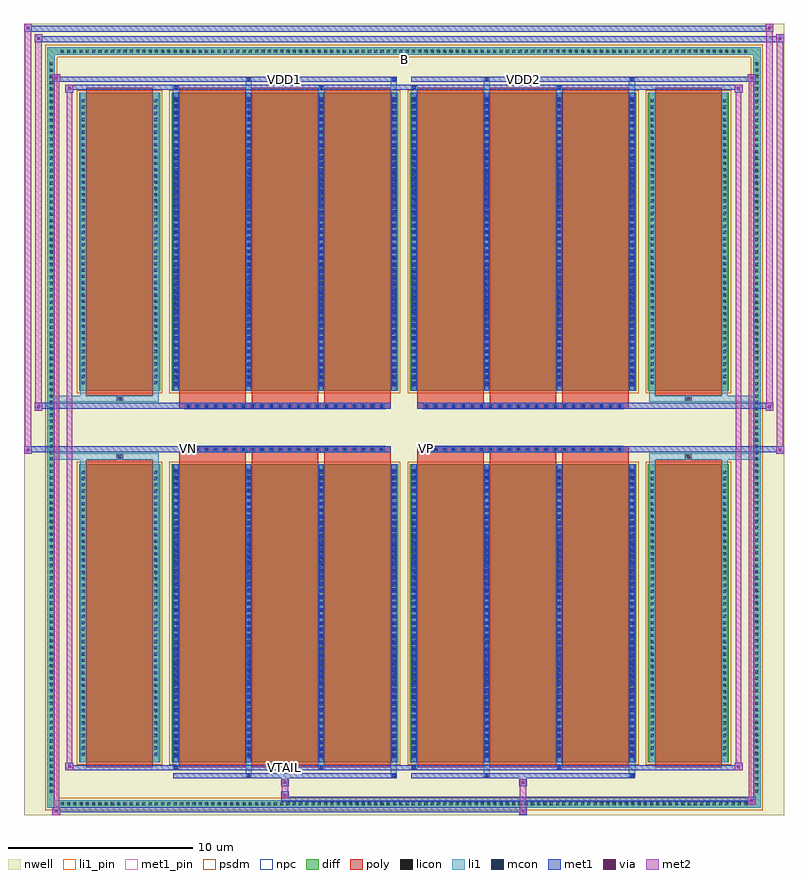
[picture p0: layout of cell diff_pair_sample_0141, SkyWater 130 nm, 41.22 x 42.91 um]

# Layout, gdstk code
import gdstk
lib = gdstk.Library(unit=1e-6, precision=5e-09)
def R(c, l, rs):  # rectangles x0, y0, x1, y1
    for r in rs: c.add(gdstk.rectangle(r[:2], r[2:], *l))
def A(c, l, x, y, w, h, nx, ny, dx, dy):  # array of equal rectangles
    R(c, l, [(x+i*dx, y+j*dy, x+i*dx+w, y+j*dy+h) for i in range(nx) for j in range(ny)])
def P(c, l, *ps):  # polygons
    for p in ps: c.add(gdstk.Polygon(p, *l))
nwell = (64, 20)
diff = (65, 20)
poly = (66, 20)
licon = (66, 44)
li1_pin = (67, 16)
li1 = (67, 20)
mcon = (67, 44)
met1_pin = (68, 16)
met1 = (68, 20)
via = (68, 44)
met2 = (69, 20)
psdm = (94, 20)
npc = (95, 20)

diff_pair_sample_0141 = lib.new_cell('diff_pair_sample_0141')
R(diff_pair_sample_0141, nwell, [(-20.61,-21.02,20.61,21.89), (-17.93,-19.21,-0.01,-0.805), (0.01,-19.21,17.93,-0.805), (-17.93,0.805,-0.01,19.21), (0.01,0.805,17.93,19.21)])
A(diff_pair_sample_0141, diff, -18.735, -20.62, 0.41, 0.41, 110, 2, 0.34, 40.83)
A(diff_pair_sample_0141, diff, -19.34, -19.925, 0.41, 0.41, 1, 117, 0, 0.34)
A(diff_pair_sample_0141, diff, 18.93, -19.925, 0.41, 0.41, 1, 117, 0, 0.34)
R(diff_pair_sample_0141, diff, [(-18.735,-20.62,18.735,-20.21), (-19.34,-19.925,-18.93,19.925), (18.93,-19.925,19.34,19.925), (-17.62,-18.165,-13.23,-1.985), (-12.59,-18.165,-0.32,-1.985), (0.32,-18.165,12.59,-1.985), (13.23,-18.165,17.62,-1.985), (-17.62,1.985,-13.23,18.165), (-12.59,1.985,-0.32,18.165), (0.32,1.985,12.59,18.165), (13.23,1.985,17.62,18.165), (-18.735,20.21,18.735,20.62)])
P(diff_pair_sample_0141, diff, [(19.34,20.62),(-19.34,20.62),(-19.34,-20.21),(-18.93,-20.21),(-18.93,20.21),(18.93,20.21),(18.93,-20.21),(-18.93,-20.21),(-19.34,-20.21),(-19.34,-20.62),(19.34,-20.62)])
A(diff_pair_sample_0141, poly, -12.2, -18.415, 3.61, 16.68, 3, 2, 3.94, 20.15)
A(diff_pair_sample_0141, poly, 0.71, -18.415, 3.61, 16.68, 3, 2, 3.94, 20.15)
A(diff_pair_sample_0141, poly, -12.2, -1.735, 3.61, 0.4, 3, 2, 3.94, 3.07)
A(diff_pair_sample_0141, poly, 0.71, -1.735, 3.61, 0.4, 3, 2, 3.94, 3.07)
A(diff_pair_sample_0141, poly, -11.87, -1.335, 0.33, 0.33, 22, 2, 0.5, 2.34)
A(diff_pair_sample_0141, poly, 1.04, -1.335, 0.33, 0.33, 22, 2, 0.5, 2.34)
R(diff_pair_sample_0141, poly, [(-17.23,-18.415,-13.62,-1.735), (13.62,-18.415,17.23,-1.735), (-15.59,-1.735,-15.26,-1.405), (-15.59,-1.735,-15.26,-1.405), (15.26,-1.735,15.59,-1.405), (15.26,-1.735,15.59,-1.405), (-12.2,-1.335,-0.71,-1.005), (0.71,-1.335,12.2,-1.005), (-12.2,1.005,-0.71,1.335), (0.71,1.005,12.2,1.335), (-15.59,1.405,-15.26,1.735), (-15.59,1.405,-15.26,1.735), (15.26,1.405,15.59,1.735), (15.26,1.405,15.59,1.735), (-17.23,1.735,-13.62,18.415), (13.62,1.735,17.23,18.415)])
A(diff_pair_sample_0141, licon, -18.615, -20.5, 0.17, 0.17, 110, 2, 0.34, 40.83)
A(diff_pair_sample_0141, licon, -19.22, -19.805, 0.17, 0.17, 1, 117, 0, 0.34)
A(diff_pair_sample_0141, licon, 19.05, -19.805, 0.17, 0.17, 1, 117, 0, 0.34)
A(diff_pair_sample_0141, licon, -17.48, -17.81, 0.17, 0.17, 1, 46, 0, 0.34)
A(diff_pair_sample_0141, licon, -13.54, -17.81, 0.17, 0.17, 1, 46, 0, 0.34)
A(diff_pair_sample_0141, licon, -12.45, -17.81, 0.17, 0.17, 4, 46, 3.94, 0.34)
A(diff_pair_sample_0141, licon, 0.46, -17.81, 0.17, 0.17, 4, 46, 3.94, 0.34)
A(diff_pair_sample_0141, licon, 13.37, -17.81, 0.17, 0.17, 1, 46, 0, 0.34)
A(diff_pair_sample_0141, licon, 17.31, -17.81, 0.17, 0.17, 1, 46, 0, 0.34)
A(diff_pair_sample_0141, licon, -11.79, -1.255, 0.17, 0.17, 22, 2, 0.5, 2.34)
A(diff_pair_sample_0141, licon, 1.12, -1.255, 0.17, 0.17, 22, 2, 0.5, 2.34)
A(diff_pair_sample_0141, licon, -17.48, 2.34, 0.17, 0.17, 1, 46, 0, 0.34)
A(diff_pair_sample_0141, licon, -13.54, 2.34, 0.17, 0.17, 1, 46, 0, 0.34)
A(diff_pair_sample_0141, licon, -12.45, 2.34, 0.17, 0.17, 4, 46, 3.94, 0.34)
A(diff_pair_sample_0141, licon, 0.46, 2.34, 0.17, 0.17, 4, 46, 3.94, 0.34)
A(diff_pair_sample_0141, licon, 13.37, 2.34, 0.17, 0.17, 1, 46, 0, 0.34)
A(diff_pair_sample_0141, licon, 17.31, 2.34, 0.17, 0.17, 1, 46, 0, 0.34)
R(diff_pair_sample_0141, licon, [(-15.51,-1.655,-15.34,-1.485), (15.34,-1.655,15.51,-1.485), (-15.51,1.485,-15.34,1.655), (15.34,1.485,15.51,1.655)])
R(diff_pair_sample_0141, li1_pin, [(-0.25,19.71,0.25,20.21)])
A(diff_pair_sample_0141, li1, -18.695, -20.58, 0.33, 0.33, 110, 2, 0.34, 40.83)
A(diff_pair_sample_0141, li1, -19.3, -19.885, 0.33, 0.33, 1, 117, 0, 0.34)
A(diff_pair_sample_0141, li1, 18.97, -19.885, 0.33, 0.33, 1, 117, 0, 0.34)
A(diff_pair_sample_0141, li1, -12.53, -18.165, 0.33, 16.18, 4, 2, 3.94, 20.15)
A(diff_pair_sample_0141, li1, 0.38, -18.165, 0.33, 16.18, 4, 2, 3.94, 20.15)
A(diff_pair_sample_0141, li1, -12.45, -17.9, 0.17, 0.17, 4, 44, 3.94, 0.36)
A(diff_pair_sample_0141, li1, -12.45, -17.9, 0.17, 15.65, 4, 2, 3.94, 20.15)
A(diff_pair_sample_0141, li1, 0.46, -17.9, 0.17, 0.17, 4, 44, 3.94, 0.36)
A(diff_pair_sample_0141, li1, 0.46, -17.9, 0.17, 15.65, 4, 2, 3.94, 20.15)
A(diff_pair_sample_0141, li1, -17.56, -17.89, 0.33, 0.33, 1, 46, 0, 0.34)
A(diff_pair_sample_0141, li1, -13.62, -17.89, 0.33, 0.33, 1, 46, 0, 0.34)
A(diff_pair_sample_0141, li1, -12.53, -17.89, 0.33, 0.33, 4, 46, 3.94, 0.34)
A(diff_pair_sample_0141, li1, 0.38, -17.89, 0.33, 0.33, 4, 46, 3.94, 0.34)
A(diff_pair_sample_0141, li1, 13.29, -17.89, 0.33, 0.33, 1, 46, 0, 0.34)
A(diff_pair_sample_0141, li1, 17.23, -17.89, 0.33, 0.33, 1, 46, 0, 0.34)
A(diff_pair_sample_0141, li1, -11.87, -1.335, 0.33, 0.33, 22, 2, 0.5, 2.34)
A(diff_pair_sample_0141, li1, 1.04, -1.335, 0.33, 0.33, 22, 2, 0.5, 2.34)
A(diff_pair_sample_0141, li1, -12.45, 2.25, 0.17, 0.17, 4, 44, 3.94, 0.36)
A(diff_pair_sample_0141, li1, 0.46, 2.25, 0.17, 0.17, 4, 44, 3.94, 0.36)
A(diff_pair_sample_0141, li1, -17.56, 2.26, 0.33, 0.33, 1, 46, 0, 0.34)
A(diff_pair_sample_0141, li1, -13.62, 2.26, 0.33, 0.33, 1, 46, 0, 0.34)
A(diff_pair_sample_0141, li1, -12.53, 2.26, 0.33, 0.33, 4, 46, 3.94, 0.34)
A(diff_pair_sample_0141, li1, 0.38, 2.26, 0.33, 0.33, 4, 46, 3.94, 0.34)
A(diff_pair_sample_0141, li1, 13.29, 2.26, 0.33, 0.33, 1, 46, 0, 0.34)
A(diff_pair_sample_0141, li1, 17.23, 2.26, 0.33, 0.33, 1, 46, 0, 0.34)
R(diff_pair_sample_0141, li1, [(-19.34,-20.62,-18.93,-20.21), (-19.34,-20.62,-18.93,-20.21), (-18.93,-20.62,18.93,-20.21), (18.93,-20.62,19.34,-20.21), (18.93,-20.62,19.34,-20.21), (-19.34,-20.21,-18.93,20.21), (18.93,-20.21,19.34,20.21), (-8.59,-18.97,-8.26,-18.165), (-8.51,-18.97,-8.34,-18.8), (-0.71,-18.97,-0.38,-18.165), (-0.63,-18.97,-0.46,-18.8), (4.32,-18.97,4.65,-18.165), (4.4,-18.97,4.57,-18.8), (12.2,-18.97,12.53,-18.165), (12.28,-18.97,12.45,-18.8), (-12.53,-18.54,-12.2,-18.165), (-12.45,-18.54,-12.28,-18.37), (-4.65,-18.54,-4.32,-18.165), (-4.57,-18.54,-4.4,-18.37), (0.38,-18.54,0.71,-18.165), (0.46,-18.54,0.63,-18.37), (8.26,-18.54,8.59,-18.165), (8.34,-18.54,8.51,-18.37), (-17.56,-18.165,-17.23,-1.985), (-13.62,-18.165,-13.29,-1.985), (13.29,-18.165,13.62,-1.985), (17.23,-18.165,17.56,-1.985), (-17.56,-1.985,-17.23,-1.405), (-13.62,-1.985,-13.29,-1.405), (13.29,-1.985,13.62,-1.405), (17.23,-1.985,17.56,-1.405), (-19.34,-1.735,-15.59,-1.405), (-17.56,-1.735,-15.59,-1.405), (-15.59,-1.735,-15.26,-1.405), (-15.26,-1.735,-13.29,-1.405), (13.29,-1.735,15.26,-1.405), (15.26,-1.735,15.59,-1.405), (15.26,-1.735,19.34,-1.405), (15.59,-1.735,17.56,-1.405), (-19.34,1.405,-15.59,1.735), (-17.56,1.405,-15.59,1.735), (-17.56,1.405,-17.23,1.985), (-15.59,1.405,-15.26,1.735), (-15.26,1.405,-13.29,1.735), (-13.62,1.405,-13.29,1.985), (13.29,1.405,15.26,1.735), (13.29,1.405,13.62,1.985), (15.26,1.405,15.59,1.735), (15.26,1.405,19.34,1.735), (15.59,1.405,17.56,1.735), (17.23,1.405,17.56,1.985), (-17.56,1.985,-17.23,18.165), (-13.62,1.985,-13.29,18.165), (13.29,1.985,13.62,18.165), (17.23,1.985,17.56,18.165), (-12.53,18.165,-12.2,18.54), (-8.59,18.165,-8.26,18.97), (-4.65,18.165,-4.32,18.54), (-0.71,18.165,-0.38,18.97), (0.38,18.165,0.71,18.54), (4.32,18.165,4.65,18.97), (8.26,18.165,8.59,18.54), (12.2,18.165,12.53,18.97), (-12.45,18.37,-12.28,18.54), (-4.57,18.37,-4.4,18.54), (0.46,18.37,0.63,18.54), (8.34,18.37,8.51,18.54), (-8.51,18.8,-8.34,18.97), (-0.63,18.8,-0.46,18.97), (4.4,18.8,4.57,18.97), (12.28,18.8,12.45,18.97), (-19.34,20.21,-18.93,20.62), (-19.34,20.21,-18.93,20.62), (-18.93,20.21,18.93,20.62), (18.93,20.21,19.34,20.62), (18.93,20.21,19.34,20.62)])
A(diff_pair_sample_0141, mcon, -12.45, -17.9, 0.17, 0.17, 4, 44, 3.94, 0.36)
A(diff_pair_sample_0141, mcon, 0.46, -17.9, 0.17, 0.17, 4, 44, 3.94, 0.36)
A(diff_pair_sample_0141, mcon, -11.79, -1.255, 0.17, 0.17, 22, 2, 0.5, 2.34)
A(diff_pair_sample_0141, mcon, 1.12, -1.255, 0.17, 0.17, 22, 2, 0.5, 2.34)
A(diff_pair_sample_0141, mcon, -12.45, 2.25, 0.17, 0.17, 4, 44, 3.94, 0.36)
A(diff_pair_sample_0141, mcon, 0.46, 2.25, 0.17, 0.17, 4, 44, 3.94, 0.36)
R(diff_pair_sample_0141, mcon, [(-8.51,-18.97,-8.34,-18.8), (-0.63,-18.97,-0.46,-18.8), (4.4,-18.97,4.57,-18.8), (12.28,-18.97,12.45,-18.8), (-12.45,-18.54,-12.28,-18.37), (-4.57,-18.54,-4.4,-18.37), (0.46,-18.54,0.63,-18.37), (8.34,-18.54,8.51,-18.37), (-12.45,18.37,-12.28,18.54), (-4.57,18.37,-4.4,18.54), (0.46,18.37,0.63,18.54), (8.34,18.37,8.51,18.54), (-8.51,18.8,-8.34,18.97), (-0.63,18.8,-0.46,18.97), (4.4,18.8,4.57,18.97), (12.28,18.8,12.45,18.97)])
R(diff_pair_sample_0141, met1_pin, [(-6.59,-18.58,-6.32,-18.31), (-11.84,-1.295,-11.57,-1.025), (1.07,-1.295,1.34,-1.025), (-6.59,18.76,-6.32,19.03), (6.32,18.76,6.59,19.03)])
A(diff_pair_sample_0141, met1, -12.51, -18.165, 0.29, 16.18, 4, 2, 3.94, 20.15)
A(diff_pair_sample_0141, met1, 0.4, -18.165, 0.29, 16.18, 4, 2, 3.94, 20.15)
A(diff_pair_sample_0141, met1, -12.51, -17.96, 0.29, 0.29, 4, 44, 3.94, 0.36)
A(diff_pair_sample_0141, met1, 0.4, -17.96, 0.29, 0.29, 4, 44, 3.94, 0.36)
A(diff_pair_sample_0141, met1, -11.85, -1.315, 0.29, 0.29, 22, 2, 0.5, 2.34)
A(diff_pair_sample_0141, met1, 1.06, -1.315, 0.29, 0.29, 22, 2, 0.5, 2.34)
A(diff_pair_sample_0141, met1, -12.51, 2.19, 0.29, 0.29, 4, 44, 3.94, 0.36)
A(diff_pair_sample_0141, met1, 0.4, 2.19, 0.29, 0.29, 4, 44, 3.94, 0.36)
R(diff_pair_sample_0141, met1, [(-19.07,-21.02,-18.64,-20.59), (6.24,-21.02,6.67,-20.59), (-19.07,-20.88,6.67,-20.59), (18.64,-20.45,19.07,-20.02), (-6.67,-20.31,19.07,-20.02), (-6.67,-20.17,-6.24,-19.74), (-6.67,-19.46,-6.24,-19.03), (6.24,-19.46,6.67,-19.03), (-12.51,-19.03,-0.4,-18.74), (-8.57,-19.03,-8.28,-18.74), (-0.69,-19.03,-0.4,-18.74), (0.4,-19.03,12.51,-18.74), (4.34,-19.03,4.63,-18.74), (12.22,-19.03,12.51,-18.74), (-18.36,-18.6,-17.93,-18.17), (-18.36,-18.6,-12.51,-18.31), (-12.51,-18.6,-12.22,-18.31), (-12.51,-18.6,-0.4,-18.31), (-4.63,-18.6,-4.34,-18.31), (-0.4,-18.6,0.4,-18.31), (0.4,-18.6,0.69,-18.31), (0.4,-18.6,12.51,-18.31), (8.28,-18.6,8.57,-18.31), (12.51,-18.6,18.36,-18.31), (17.93,-18.6,18.36,-18.17), (-20.61,-1.435,-20.18,-1.005), (20.18,-1.435,20.61,-1.005), (-20.61,-1.335,-0.71,-1.005), (-12.2,-1.335,-0.71,-1.005), (0.71,-1.335,12.2,-1.005), (0.71,-1.335,20.61,-1.005), (-20.04,0.905,-19.61,1.335), (19.61,0.905,20.04,1.335), (-20.04,1.005,-12.2,1.335), (-12.2,1.005,-0.71,1.335), (0.71,1.005,12.2,1.335), (12.2,1.005,20.04,1.335), (-18.36,18.17,-17.93,18.6), (17.93,18.17,18.36,18.6), (-18.36,18.31,-12.51,18.6), (-12.51,18.31,-12.22,18.6), (-12.51,18.31,-0.4,18.6), (-4.63,18.31,-4.34,18.6), (-0.4,18.31,0.4,18.6), (0.4,18.31,0.69,18.6), (0.4,18.31,12.51,18.6), (8.28,18.31,8.57,18.6), (12.51,18.31,18.36,18.6), (-19.07,18.74,-18.64,19.17), (-19.07,18.74,-12.51,19.03), (-12.51,18.74,-0.4,19.03), (-8.57,18.74,-8.28,19.03), (-0.69,18.74,-0.4,19.03), (0.4,18.74,12.51,19.03), (4.34,18.74,4.63,19.03), (12.22,18.74,12.51,19.03), (12.51,18.74,19.07,19.03), (18.64,18.74,19.07,19.17), (-20.04,20.89,-19.61,21.32), (-20.04,20.89,-17.93,21.22), (-17.93,20.89,17.93,21.22), (17.93,20.89,20.61,21.22), (20.18,20.89,20.61,21.32), (-20.61,21.46,-20.18,21.89), (-20.61,21.46,-17.93,21.79), (-17.93,21.46,17.93,21.79), (17.93,21.46,20.04,21.79), (19.61,21.46,20.04,21.89)])
R(diff_pair_sample_0141, via, [(-18.93,-20.88,-18.78,-20.73), (6.38,-20.88,6.53,-20.73), (18.78,-20.31,18.93,-20.16), (-6.53,-20.03,-6.38,-19.88), (-6.53,-19.32,-6.38,-19.17), (6.38,-19.32,6.53,-19.17), (-18.22,-18.46,-18.07,-18.31), (18.07,-18.46,18.22,-18.31), (-20.47,-1.295,-20.32,-1.145), (20.32,-1.295,20.47,-1.145), (-19.9,1.045,-19.75,1.195), (19.75,1.045,19.9,1.195), (-18.22,18.31,-18.07,18.46), (18.07,18.31,18.22,18.46), (-18.93,18.88,-18.78,19.03), (18.78,18.88,18.93,19.03), (-19.9,21.03,-19.75,21.18), (20.32,21.03,20.47,21.18), (-20.47,21.6,-20.32,21.75), (19.75,21.6,19.9,21.75)])
R(diff_pair_sample_0141, met2, [(-19.07,-21.02,-18.64,-20.59), (-19,-21.02,-18.71,19.17), (-18.71,-21.02,-18.64,-20.59), (-19.02,-20.97,-18.69,-20.64), (6.29,-20.97,6.62,-20.64), (6.29,-20.64,6.62,-19.41), (18.64,-20.45,19.07,-20.02), (18.71,-20.45,19,19.17), (19,-20.45,19.07,-20.02), (18.69,-20.4,19.02,-20.07), (-6.62,-20.12,-6.29,-19.79), (-6.62,-19.79,-6.29,-19.41), (-6.62,-19.41,-6.29,-19.08), (6.29,-19.41,6.62,-19.08), (-18.36,-18.6,-17.93,-18.17), (-18.29,-18.6,-18,18.6), (-18,-18.6,-17.93,-18.17), (17.93,-18.6,18.36,-18.17), (18,-18.6,18.29,18.6), (18.29,-18.6,18.36,-18.17), (-18.31,-18.55,-17.98,-18.22), (17.98,-18.55,18.31,-18.22), (-20.61,-1.435,-20.18,-1.005), (-20.56,-1.435,-20.23,21.89), (-20.23,-1.435,-20.18,-1.005), (20.18,-1.435,20.61,-1.005), (20.23,-1.435,20.56,21.32), (20.56,-1.435,20.61,-1.005), (-20.56,-1.385,-20.23,-1.055), (20.23,-1.385,20.56,-1.055), (-20.04,0.905,-19.61,1.335), (-19.99,0.905,-19.66,21.32), (-19.66,0.905,-19.61,1.335), (19.61,0.905,20.04,1.335), (19.66,0.905,19.99,21.89), (19.99,0.905,20.04,1.335), (-19.99,0.955,-19.66,1.285), (19.66,0.955,19.99,1.285), (-18.36,18.17,-17.93,18.6), (-18,18.17,-17.93,18.6), (17.93,18.17,18.36,18.6), (18.29,18.17,18.36,18.6), (-18.31,18.22,-17.98,18.55), (17.98,18.22,18.31,18.55), (-19.07,18.74,-18.64,19.17), (-18.71,18.74,-18.64,19.17), (18.64,18.74,19.07,19.17), (19,18.74,19.07,19.17), (-19.02,18.79,-18.69,19.12), (18.69,18.79,19.02,19.12), (-20.04,20.89,-19.61,21.32), (-19.66,20.89,-19.61,21.32), (20.18,20.89,20.61,21.32), (20.56,20.89,20.61,21.32), (-19.99,20.94,-19.66,21.27), (20.23,20.94,20.56,21.27), (-20.61,21.46,-20.18,21.89), (-20.23,21.46,-20.18,21.89), (19.61,21.46,20.04,21.89), (19.99,21.46,20.04,21.89), (-20.56,21.51,-20.23,21.84), (19.66,21.51,19.99,21.84)])
R(diff_pair_sample_0141, psdm, [(-17.75,-18.295,-13.1,-1.855), (-12.72,-18.295,-0.19,-1.855), (0.19,-18.295,12.72,-1.855), (13.1,-18.295,17.75,-1.855), (-17.75,1.855,-13.1,18.295), (-12.72,1.855,-0.19,18.295), (0.19,1.855,12.72,18.295), (13.1,1.855,17.75,18.295)])
P(diff_pair_sample_0141, psdm, [(19.47,20.75),(-19.47,20.75),(-19.47,-20.08),(-18.8,-20.08),(-18.8,20.08),(18.8,20.08),(18.8,-20.08),(-18.8,-20.08),(-19.47,-20.08),(-19.47,-20.75),(19.47,-20.75)])
A(diff_pair_sample_0141, npc, -11.89, -1.355, 0.37, 0.37, 22, 2, 0.5, 2.34)
A(diff_pair_sample_0141, npc, 1.02, -1.355, 0.37, 0.37, 22, 2, 0.5, 2.34)
R(diff_pair_sample_0141, npc, [(-15.61,-1.755,-15.24,-1.385), (15.24,-1.755,15.61,-1.385), (-11.89,-1.355,-11.02,-0.985), (-11.89,-1.355,-11.02,-0.985), (-11.39,-1.355,-10.52,-0.985), (-11.39,-1.355,-10.52,-0.985), (-10.89,-1.355,-10.02,-0.985), (-10.89,-1.355,-10.02,-0.985), (-10.39,-1.355,-9.52,-0.985), (-10.39,-1.355,-9.52,-0.985), (-9.89,-1.355,-9.02,-0.985), (-9.89,-1.355,-9.02,-0.985), (-9.39,-1.355,-8.52,-0.985), (-9.39,-1.355,-8.52,-0.985), (-8.89,-1.355,-8.02,-0.985), (-8.89,-1.355,-8.02,-0.985), (-8.39,-1.355,-7.52,-0.985), (-8.39,-1.355,-7.52,-0.985), (-7.89,-1.355,-7.02,-0.985), (-7.89,-1.355,-7.02,-0.985), (-7.39,-1.355,-6.52,-0.985), (-7.39,-1.355,-6.52,-0.985), (-6.89,-1.355,-6.02,-0.985), (-6.89,-1.355,-6.02,-0.985), (-6.39,-1.355,-5.52,-0.985), (-6.39,-1.355,-5.52,-0.985), (-5.89,-1.355,-5.02,-0.985), (-5.89,-1.355,-5.02,-0.985), (-5.39,-1.355,-4.52,-0.985), (-5.39,-1.355,-4.52,-0.985), (-4.89,-1.355,-4.02,-0.985), (-4.89,-1.355,-4.02,-0.985), (-4.39,-1.355,-3.52,-0.985), (-4.39,-1.355,-3.52,-0.985), (-3.89,-1.355,-3.02,-0.985), (-3.89,-1.355,-3.02,-0.985), (-3.39,-1.355,-2.52,-0.985), (-3.39,-1.355,-2.52,-0.985), (-2.89,-1.355,-2.02,-0.985), (-2.89,-1.355,-2.02,-0.985), (-2.39,-1.355,-1.52,-0.985), (-2.39,-1.355,-1.52,-0.985), (-1.89,-1.355,-1.02,-0.985), (-1.89,-1.355,-1.02,-0.985), (1.02,-1.355,1.89,-0.985), (1.02,-1.355,1.89,-0.985), (1.52,-1.355,2.39,-0.985), (1.52,-1.355,2.39,-0.985), (2.02,-1.355,2.89,-0.985), (2.02,-1.355,2.89,-0.985), (2.52,-1.355,3.39,-0.985), (2.52,-1.355,3.39,-0.985), (3.02,-1.355,3.89,-0.985), (3.02,-1.355,3.89,-0.985), (3.52,-1.355,4.39,-0.985), (3.52,-1.355,4.39,-0.985), (4.02,-1.355,4.89,-0.985), (4.02,-1.355,4.89,-0.985), (4.52,-1.355,5.39,-0.985), (4.52,-1.355,5.39,-0.985), (5.02,-1.355,5.89,-0.985), (5.02,-1.355,5.89,-0.985), (5.52,-1.355,6.39,-0.985), (5.52,-1.355,6.39,-0.985), (6.02,-1.355,6.89,-0.985), (6.02,-1.355,6.89,-0.985), (6.52,-1.355,7.39,-0.985), (6.52,-1.355,7.39,-0.985), (7.02,-1.355,7.89,-0.985), (7.02,-1.355,7.89,-0.985), (7.52,-1.355,8.39,-0.985), (7.52,-1.355,8.39,-0.985), (8.02,-1.355,8.89,-0.985), (8.02,-1.355,8.89,-0.985), (8.52,-1.355,9.39,-0.985), (8.52,-1.355,9.39,-0.985), (9.02,-1.355,9.89,-0.985), (9.02,-1.355,9.89,-0.985), (9.52,-1.355,10.39,-0.985), (9.52,-1.355,10.39,-0.985), (10.02,-1.355,10.89,-0.985), (10.02,-1.355,10.89,-0.985), (10.52,-1.355,11.39,-0.985), (10.52,-1.355,11.39,-0.985), (11.02,-1.355,11.89,-0.985), (11.02,-1.355,11.89,-0.985), (-11.89,0.985,-11.02,1.355), (-11.89,0.985,-11.02,1.355), (-11.39,0.985,-10.52,1.355), (-11.39,0.985,-10.52,1.355), (-10.89,0.985,-10.02,1.355), (-10.89,0.985,-10.02,1.355), (-10.39,0.985,-9.52,1.355), (-10.39,0.985,-9.52,1.355), (-9.89,0.985,-9.02,1.355), (-9.89,0.985,-9.02,1.355), (-9.39,0.985,-8.52,1.355), (-9.39,0.985,-8.52,1.355), (-8.89,0.985,-8.02,1.355), (-8.89,0.985,-8.02,1.355), (-8.39,0.985,-7.52,1.355), (-8.39,0.985,-7.52,1.355), (-7.89,0.985,-7.02,1.355), (-7.89,0.985,-7.02,1.355), (-7.39,0.985,-6.52,1.355), (-7.39,0.985,-6.52,1.355), (-6.89,0.985,-6.02,1.355), (-6.89,0.985,-6.02,1.355), (-6.39,0.985,-5.52,1.355), (-6.39,0.985,-5.52,1.355), (-5.89,0.985,-5.02,1.355), (-5.89,0.985,-5.02,1.355), (-5.39,0.985,-4.52,1.355), (-5.39,0.985,-4.52,1.355), (-4.89,0.985,-4.02,1.355), (-4.89,0.985,-4.02,1.355), (-4.39,0.985,-3.52,1.355), (-4.39,0.985,-3.52,1.355), (-3.89,0.985,-3.02,1.355), (-3.89,0.985,-3.02,1.355), (-3.39,0.985,-2.52,1.355), (-3.39,0.985,-2.52,1.355), (-2.89,0.985,-2.02,1.355), (-2.89,0.985,-2.02,1.355), (-2.39,0.985,-1.52,1.355), (-2.39,0.985,-1.52,1.355), (-1.89,0.985,-1.02,1.355), (-1.89,0.985,-1.02,1.355), (1.02,0.985,1.89,1.355), (1.02,0.985,1.89,1.355), (1.52,0.985,2.39,1.355), (1.52,0.985,2.39,1.355), (2.02,0.985,2.89,1.355), (2.02,0.985,2.89,1.355), (2.52,0.985,3.39,1.355), (2.52,0.985,3.39,1.355), (3.02,0.985,3.89,1.355), (3.02,0.985,3.89,1.355), (3.52,0.985,4.39,1.355), (3.52,0.985,4.39,1.355), (4.02,0.985,4.89,1.355), (4.02,0.985,4.89,1.355), (4.52,0.985,5.39,1.355), (4.52,0.985,5.39,1.355), (5.02,0.985,5.89,1.355), (5.02,0.985,5.89,1.355), (5.52,0.985,6.39,1.355), (5.52,0.985,6.39,1.355), (6.02,0.985,6.89,1.355), (6.02,0.985,6.89,1.355), (6.52,0.985,7.39,1.355), (6.52,0.985,7.39,1.355), (7.02,0.985,7.89,1.355), (7.02,0.985,7.89,1.355), (7.52,0.985,8.39,1.355), (7.52,0.985,8.39,1.355), (8.02,0.985,8.89,1.355), (8.02,0.985,8.89,1.355), (8.52,0.985,9.39,1.355), (8.52,0.985,9.39,1.355), (9.02,0.985,9.89,1.355), (9.02,0.985,9.89,1.355), (9.52,0.985,10.39,1.355), (9.52,0.985,10.39,1.355), (10.02,0.985,10.89,1.355), (10.02,0.985,10.89,1.355), (10.52,0.985,11.39,1.355), (10.52,0.985,11.39,1.355), (11.02,0.985,11.89,1.355), (11.02,0.985,11.89,1.355), (-15.61,1.385,-15.24,1.755), (15.24,1.385,15.61,1.755)])
diff_pair_sample_0141.add(gdstk.Label('VTAIL', (-6.455,-18.445), layer=68, texttype=5))
diff_pair_sample_0141.add(gdstk.Label('VN', (-11.705,-1.16), layer=68, texttype=5))
diff_pair_sample_0141.add(gdstk.Label('VP', (1.205,-1.16), layer=68, texttype=5))
diff_pair_sample_0141.add(gdstk.Label('B', (0,19.96), layer=67, texttype=5))
diff_pair_sample_0141.add(gdstk.Label('VDD2', (6.455,18.895), layer=68, texttype=5))
diff_pair_sample_0141.add(gdstk.Label('VDD1', (-6.455,18.895), layer=68, texttype=5))

lib.write_gds('diff_pair_sample_0141.gds')
